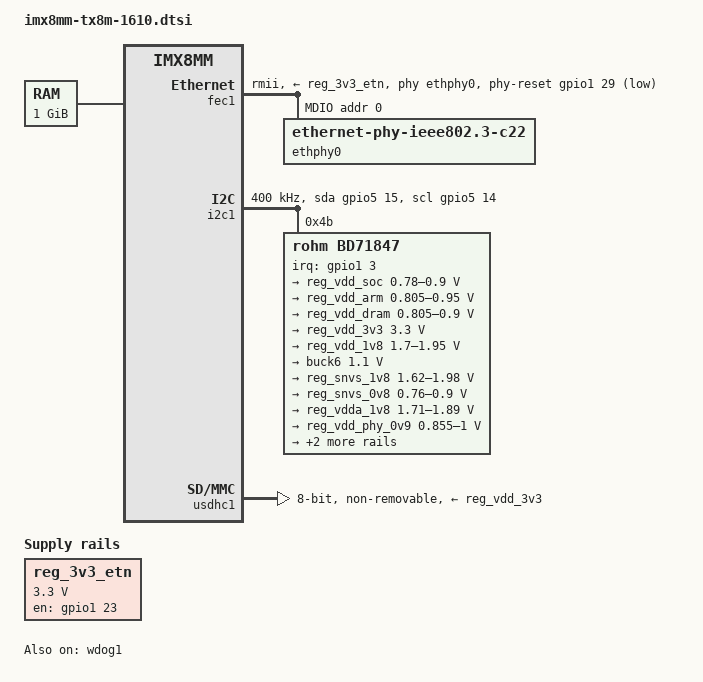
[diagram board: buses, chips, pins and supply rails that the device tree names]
// SPDX-License-Identifier: (GPL-2.0 OR MIT)
/*
 * Copyright (C) 2020 Lothar Waßmann <LW@KARO-electronics.de>
 *
 */

#include "imx8mm.dtsi"

/ {
	memory@40000000 {
		device_type = "memory";
		reg = <0x0 0x40000000 0 0x40000000>;
	};

	reg_3v3_etn: regulator-3v3-etn {
		compatible = "regulator-fixed";
		regulator-name = "3v3_etn";
		regulator-min-microvolt = <3300000>;
		regulator-max-microvolt = <3300000>;
		pinctrl-names = "default";
		pinctrl-0 = <&pinctrl_etnphy_power>;
		gpio = <&gpio1 23 GPIO_ACTIVE_HIGH>;
		enable-active-high;
		power-supply = <&reg_vdd_3v3>;
	};
};

&A53_0 {
	arm-supply = <&reg_vdd_arm>;
};

&A53_1 {
	arm-supply = <&reg_vdd_arm>;
};

&A53_2 {
	arm-supply = <&reg_vdd_arm>;
};

&A53_3 {
	arm-supply = <&reg_vdd_arm>;
};

&fec1 {
	pinctrl-names = "default";
	pinctrl-0 = <&pinctrl_fec1 &pinctrl_etnphy_rst>;
	phy-mode = "rmii";
	phy-handle = <&ethphy0>;
	phy-supply = <&reg_3v3_etn>;
	phy-reset-gpios = <&gpio1 29 GPIO_ACTIVE_LOW>;
	phy-reset-duration = <10>;
	status = "okay";

	mdio {
		#address-cells = <1>;
		#size-cells = <0>;

		ethphy0: ethernet-phy@0 {
			compatible = "ethernet-phy-ieee802.3-c22";
			reg = <0>;
			smsc,disable-energy-detect;
		};
	};
};

&i2c1 {
	pinctrl-names = "default", "gpio";
	pinctrl-0 = <&pinctrl_i2c1>;
	pinctrl-1 = <&pinctrl_i2c1_gpio>;
	scl-gpios = <&gpio5 14 (GPIO_ACTIVE_HIGH | GPIO_OPEN_DRAIN)>;
	sda-gpios = <&gpio5 15 (GPIO_ACTIVE_HIGH | GPIO_OPEN_DRAIN)>;
	clock-frequency = <400000>;
	status = "okay";

	bd71847: pmic@4b {
		reg = <0x4b>;
		compatible = "rohm,bd71847";
		pinctrl-names = "default";
		pinctrl-0 = <&pinctrl_pmic>;
		interrupt-parent = <&gpio1>;
		interrupts = <3 IRQ_TYPE_EDGE_FALLING>;

		gpo {
			rohm,drv = <0x0C>;	/* 0b0000_1100 all gpios with CMOS output mode */
		};

		regulators {
			reg_vdd_soc: BUCK1 {
				regulator-name = "VDD_SOC_0V8";
				regulator-min-microvolt = <780000>;
				regulator-max-microvolt = <900000>;
				regulator-boot-on;
				regulator-always-on;
				regulator-ramp-delay = <1250>;
			};

			reg_vdd_arm: BUCK2 {
				regulator-name = "VDD_ARM_0V9";
				regulator-min-microvolt = <805000>;
				regulator-max-microvolt = <950000>;
				regulator-boot-on;
				regulator-always-on;
				regulator-ramp-delay = <1250>;
				rohm,dvs-run-voltage = <950000>;
				rohm,dvs-idle-voltage = <810000>;
			};

			reg_vdd_dram: BUCK3 {
				regulator-name = "VDD_DRAM&PU_0V9";
				regulator-min-microvolt = <805000>;
				regulator-max-microvolt = <900000>;
				regulator-boot-on;
				regulator-always-on;
			};

			reg_vdd_3v3: BUCK4 {
				regulator-name = "3V3";
				regulator-min-microvolt = <3300000>;
				regulator-max-microvolt = <3300000>;
				regulator-boot-on;
				regulator-always-on;
			};

			reg_vdd_1v8: BUCK5 {
				regulator-name = "VDD_1V8";
				regulator-min-microvolt = <1700000>;
				regulator-max-microvolt = <1950000>;
				regulator-boot-on;
				regulator-always-on;
			};

			BUCK6 {
				regulator-name = "buck6";
				/*
				 * The default output voltage is 1.1V, bumped
				 * to 1.35V in HW by a 499R/2.2K voltage divider in the
				 * feedback path.
				 */
				regulator-min-microvolt = <1100000>;
				regulator-max-microvolt = <1100000>;
				regulator-boot-on;
				regulator-always-on;
			};

			reg_snvs_1v8: LDO1 {
				regulator-name = "NVCC_SNVS_1V8";
				regulator-min-microvolt = <1620000>;
				regulator-max-microvolt = <1980000>;
				regulator-boot-on;
				regulator-always-on;
			};

			reg_snvs_0v8: LDO2 {
				regulator-name = "VDD_SNVS_0V8";
				regulator-min-microvolt = <760000>;
				regulator-max-microvolt = <900000>;
				regulator-boot-on;
				regulator-always-on;
			};

			reg_vdda_1v8: LDO3 {
				regulator-name = "VDDA_1V8";
				regulator-min-microvolt = <1710000>;
				regulator-max-microvolt = <1890000>;
				regulator-boot-on;
				regulator-always-on;
			};

			reg_vdd_phy_0v9: LDO4 {
				regulator-name = "VDD_PHY_0V9";
				regulator-min-microvolt = <855000>;
				regulator-max-microvolt = <1000000>;
				regulator-boot-on;
				regulator-always-on;
			};

			ldo5_reg: LDO5 {
				regulator-name = "LDO5";
				regulator-min-microvolt = <1800000>;
				regulator-max-microvolt = <3300000>;
			};

			reg_vdd_phy_1v2: LDO6 {
				regulator-name = "VDD_PHY_1V2";
				regulator-min-microvolt = <1140000>;
				regulator-max-microvolt = <1260000>;
				regulator-boot-on;
				regulator-always-on;
			};
		};
	};
};

&usdhc1 { /* eMMC */
	max-frequency = <200000000>;
	assigned-clocks = <&clk IMX8MM_CLK_USDHC1>;
	assigned-clock-rates = <200000000>;
	pinctrl-names = "default", "state_100mhz", "state_200mhz";
	pinctrl-0 = <&pinctrl_usdhc1>;
	pinctrl-1 = <&pinctrl_usdhc1_100mhz>;
	pinctrl-2 = <&pinctrl_usdhc1_200mhz>;
	bus-width = <8>;
	vqmmc-supply = <&reg_vdd_1v8>;
	vmmc-supply = <&reg_vdd_3v3>;
	non-removable;
	status = "okay";
};

&wdog1 {
	status = "okay";
};

&iomuxc {
	pinctrl_i2c1: i2c1grp {
		fsl,pins = <
			MX8MM_IOMUXC_I2C1_SCL_I2C1_SCL			0x400001d6
			MX8MM_IOMUXC_I2C1_SDA_I2C1_SDA			0x400001d6
		>;
	};

	pinctrl_i2c1_gpio: i2c1-gpiogrp {
		fsl,pins = <
			MX8MM_IOMUXC_I2C1_SCL_GPIO5_IO14		0x400001d6
			MX8MM_IOMUXC_I2C1_SDA_GPIO5_IO15		0x400001d6
		>;
	};

	pinctrl_pmic: pmicgrp {
		fsl,pins = <
			MX8MM_IOMUXC_GPIO1_IO03_GPIO1_IO3		0x1c0
		>;
	};

	pinctrl_usdhc1: usdhc1grp {
		fsl,pins = <
			MX8MM_IOMUXC_SD1_CLK_USDHC1_CLK			0x110
			MX8MM_IOMUXC_SD1_CMD_USDHC1_CMD			0x150
			MX8MM_IOMUXC_SD1_DATA0_USDHC1_DATA0		0x150
			MX8MM_IOMUXC_SD1_DATA1_USDHC1_DATA1		0x150
			MX8MM_IOMUXC_SD1_DATA2_USDHC1_DATA2		0x150
			MX8MM_IOMUXC_SD1_DATA3_USDHC1_DATA3		0x150
			MX8MM_IOMUXC_SD1_DATA4_USDHC1_DATA4		0x150
			MX8MM_IOMUXC_SD1_DATA5_USDHC1_DATA5		0x150
			MX8MM_IOMUXC_SD1_DATA6_USDHC1_DATA6		0x150
			MX8MM_IOMUXC_SD1_DATA7_USDHC1_DATA7		0x150
			MX8MM_IOMUXC_SD1_STROBE_USDHC1_STROBE		0x150
			MX8MM_IOMUXC_SD1_RESET_B_USDHC1_RESET_B		0x150
		>;
	};

	pinctrl_usdhc1_100mhz: usdhc1-100mhzgrp {
		fsl,pins = <
			MX8MM_IOMUXC_SD1_CLK_USDHC1_CLK			0x114
			MX8MM_IOMUXC_SD1_CMD_USDHC1_CMD			0x154
			MX8MM_IOMUXC_SD1_DATA0_USDHC1_DATA0		0x154
			MX8MM_IOMUXC_SD1_DATA1_USDHC1_DATA1		0x154
			MX8MM_IOMUXC_SD1_DATA2_USDHC1_DATA2		0x154
			MX8MM_IOMUXC_SD1_DATA3_USDHC1_DATA3		0x154
			MX8MM_IOMUXC_SD1_DATA4_USDHC1_DATA4		0x154
			MX8MM_IOMUXC_SD1_DATA5_USDHC1_DATA5		0x154
			MX8MM_IOMUXC_SD1_DATA6_USDHC1_DATA6		0x154
			MX8MM_IOMUXC_SD1_DATA7_USDHC1_DATA7		0x154
			MX8MM_IOMUXC_SD1_STROBE_USDHC1_STROBE		0x154
			MX8MM_IOMUXC_SD1_RESET_B_USDHC1_RESET_B		0x150
		>;
	};

	pinctrl_usdhc1_200mhz: usdhc1-200mhzgrp {
		fsl,pins = <
			MX8MM_IOMUXC_SD1_CLK_USDHC1_CLK			0x116
			MX8MM_IOMUXC_SD1_CMD_USDHC1_CMD			0x156
			MX8MM_IOMUXC_SD1_DATA0_USDHC1_DATA0		0x156
			MX8MM_IOMUXC_SD1_DATA1_USDHC1_DATA1		0x156
			MX8MM_IOMUXC_SD1_DATA2_USDHC1_DATA2		0x156
			MX8MM_IOMUXC_SD1_DATA3_USDHC1_DATA3		0x156
			MX8MM_IOMUXC_SD1_DATA4_USDHC1_DATA4		0x156
			MX8MM_IOMUXC_SD1_DATA5_USDHC1_DATA5		0x156
			MX8MM_IOMUXC_SD1_DATA6_USDHC1_DATA6		0x156
			MX8MM_IOMUXC_SD1_DATA7_USDHC1_DATA7		0x156
			MX8MM_IOMUXC_SD1_STROBE_USDHC1_STROBE		0x156
			MX8MM_IOMUXC_SD1_RESET_B_USDHC1_RESET_B		0x150
		>;
	};

	pinctrl_etnphy_power: etnphy-powergrp {
		fsl,pins = <
			MX8MM_IOMUXC_ENET_TXC_GPIO1_IO23		0x142
		>;
	};

	pinctrl_etnphy_rst: etnphy-rstgrp {
		fsl,pins = <
			MX8MM_IOMUXC_ENET_RD3_GPIO1_IO29		0x140
		>;
	};

	pinctrl_fec1: fec1grp {
		fsl,pins = <
			MX8MM_IOMUXC_ENET_MDC_ENET1_MDC			0x142
			MX8MM_IOMUXC_ENET_MDIO_ENET1_MDIO		0x142
			MX8MM_IOMUXC_ENET_TD2_ENET1_TX_CLK		0x40000016
			MX8MM_IOMUXC_ENET_TD0_ENET1_RGMII_TD0		0x16
			MX8MM_IOMUXC_ENET_TD1_ENET1_RGMII_TD1		0x16
			MX8MM_IOMUXC_ENET_RD0_ENET1_RGMII_RD0		0x90
			MX8MM_IOMUXC_ENET_RD1_ENET1_RGMII_RD1		0x90
			MX8MM_IOMUXC_ENET_RXC_ENET1_RX_ER		0x16
			MX8MM_IOMUXC_ENET_RX_CTL_ENET1_RGMII_RX_CTL	0x16
			MX8MM_IOMUXC_ENET_TX_CTL_ENET1_RGMII_TX_CTL	0x16
		>;
	};

	pinctrl_fec1_sleep: fec1-sleepgrp {
		fsl,pins = <
			MX8MM_IOMUXC_ENET_MDC_ENET1_MDC			0x120
			MX8MM_IOMUXC_ENET_MDIO_ENET1_MDIO		0x120
			MX8MM_IOMUXC_ENET_TD2_ENET1_TX_CLK		0x40000120
			MX8MM_IOMUXC_ENET_TD0_ENET1_RGMII_TD0		0x120
			MX8MM_IOMUXC_ENET_TD1_ENET1_RGMII_TD1		0x120
			MX8MM_IOMUXC_ENET_RD0_ENET1_RGMII_RD0		0x120
			MX8MM_IOMUXC_ENET_RD1_ENET1_RGMII_RD1		0x120
			MX8MM_IOMUXC_ENET_RXC_ENET1_RX_ER		0x120
			MX8MM_IOMUXC_ENET_RX_CTL_ENET1_RGMII_RX_CTL	0x120
			MX8MM_IOMUXC_ENET_TX_CTL_ENET1_RGMII_TX_CTL	0x120
		>;
	};
};
